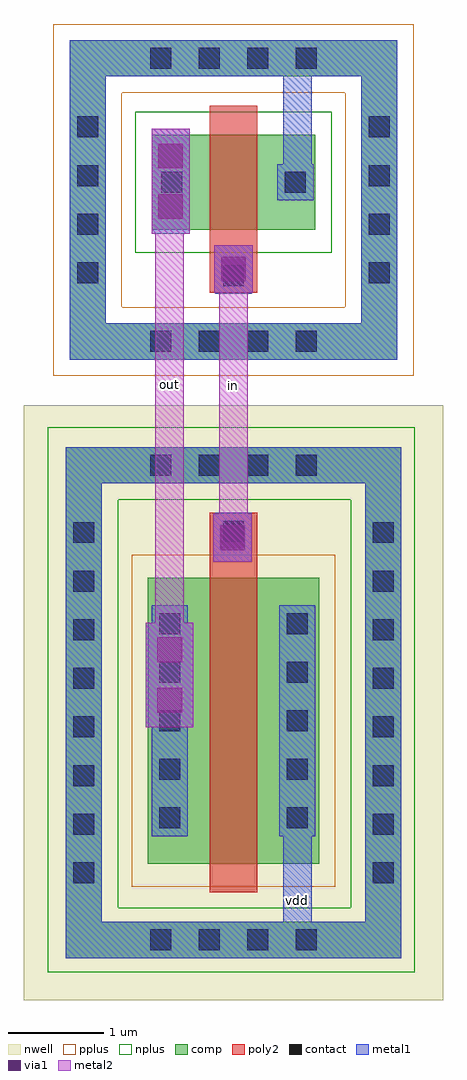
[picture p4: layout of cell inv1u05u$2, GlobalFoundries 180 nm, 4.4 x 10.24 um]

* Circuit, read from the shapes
.subckt inv1u05u$2 in out vdd
XM1 VSUBS in out VSUBS nfet_03v3 w=1u l=0.5u
XM2 vdd in out vdd pfet_03v3 w=3u l=0.5u
.ends

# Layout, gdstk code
from math import pi, radians
import gdstk
lib = gdstk.Library(unit=1e-6, precision=5e-09)
def R(c, l, rs):  # rectangles x0, y0, x1, y1
    for r in rs: c.add(gdstk.rectangle(r[:2], r[2:], *l))
def A(c, l, x, y, w, h, nx, ny, dx, dy):  # array of equal rectangles
    R(c, l, [(x+i*dx, y+j*dy, x+i*dx+w, y+j*dy+h) for i in range(nx) for j in range(ny)])
def P(c, l, *ps):  # polygons
    for p in ps: c.add(gdstk.Polygon(p, *l))
nwell = (21, 0)
comp = (22, 0)
poly2 = (30, 0)
pplus = (31, 0)
nplus = (32, 0)
contact = (33, 0)
metal1 = (34, 0)
via1 = (35, 0)
metal2 = (36, 0)

nfet_4 = lib.new_cell('nfet$4')
R(nfet_4, comp, [(-0.42,0,0,1), (0,0,0.88,1), (0.88,0,1.3,1)])
P(nfet_4, comp, [(-1.28,-0.99),(-1.28,1.98),(-0.9,1.98),(-0.9,-0.61),(1.78,-0.61),(1.78,1.98),(-1.28,1.98),(-1.28,2.36),(2.16,2.36),(2.16,-0.99)])
R(nfet_4, poly2, [(0.19,-0.3,0.69,1.3), (0.19,1.3,0.69,1.66)])
P(nfet_4, pplus, [(-1.45,-1.16),(-1.45,1.81),(-0.73,1.81),(-0.73,-0.44),(1.61,-0.44),(1.61,1.81),(-1.45,1.81),(-1.45,2.53),(2.33,2.53),(2.33,-1.16)])
R(nfet_4, nplus, [(-0.59,-0.24,1.47,1.24)])
A(nfet_4, contact, -0.435, -0.91, 0.22, 0.22, 4, 2, 0.51, 2.97)
A(nfet_4, contact, -1.2, -0.19, 0.22, 0.22, 1, 4, 0, 0.51)
A(nfet_4, contact, 1.86, -0.19, 0.22, 0.22, 1, 4, 0, 0.51)
R(nfet_4, contact, [(-0.32,0.39,-0.1,0.61), (0.98,0.39,1.2,0.61), (0.33,1.37,0.55,1.59)])
R(nfet_4, metal1, [(-0.4,0.31,-0.02,0.69), (0.9,0.31,1.28,0.69), (0.25,1.29,0.63,1.67)])

via_dev_12 = lib.new_cell('via_dev$12')
R(via_dev_12, metal1, [(0,0,0.4,0.5)])
R(via_dev_12, via1, [(0.07,0.12,0.33,0.38)])
R(via_dev_12, metal2, [(0,0,0.4,0.5)])

via_dev_14 = lib.new_cell('via_dev$14')
R(via_dev_14, metal1, [(0,0,0.4,1.1)])
R(via_dev_14, via1, [(0.07,0.155,0.33,0.415), (0.07,0.685,0.33,0.945)])
R(via_dev_14, metal2, [(0,0,0.4,1.1)])

via_dev_13 = lib.new_cell('via_dev$13')
R(via_dev_13, metal1, [(0,0,0.5,1.1)])
R(via_dev_13, via1, [(0.12,0.155,0.38,0.415), (0.12,0.685,0.38,0.945)])
R(via_dev_13, metal2, [(0,0,0.5,1.1)])

pfet_4 = lib.new_cell('pfet$4')
R(pfet_4, nwell, [(-1.76,-1.81,2.64,4.43)])
R(pfet_4, comp, [(-0.46,0,0,3), (0,0,0.88,3), (0.88,0,1.34,3)])
P(pfet_4, comp, [(-1.32,-1.37),(-1.32,3.61),(-0.94,3.61),(-0.94,-0.99),(1.82,-0.99),(1.82,3.61),(-1.32,3.61),(-1.32,3.99),(2.2,3.99),(2.2,-1.37)])
R(pfet_4, poly2, [(0.19,-0.68,0.69,-0.3), (0.19,-0.3,0.69,3.3)])
R(pfet_4, pplus, [(-0.63,-0.24,1.51,3.24)])
A(pfet_4, contact, -0.435, -1.29, 0.22, 0.22, 4, 2, 0.51, 4.98)
A(pfet_4, contact, -1.24, -0.585, 0.22, 0.22, 1, 8, 0, 0.51)
A(pfet_4, contact, 1.9, -0.585, 0.22, 0.22, 1, 8, 0, 0.51)
A(pfet_4, contact, -0.34, 0.37, 0.22, 0.22, 1, 5, 0, 0.51)
A(pfet_4, contact, 1, 0.37, 0.22, 0.22, 1, 5, 0, 0.51)
R(pfet_4, contact, [(0.33,-0.6,0.55,-0.38)])
R(pfet_4, metal1, [(0.25,-0.68,0.63,-0.3), (-0.42,0.29,-0.04,2.71), (0.92,0.29,1.3,2.71)])

inv1u05u_2 = lib.new_cell('inv1u05u$2')
R(inv1u05u_2, nplus, [(18.57,11.735,22.42,12.415), (18.57,11.735,19.31,17.455), (21.75,11.735,22.42,17.455), (18.57,16.695,22.42,17.455)])
R(inv1u05u_2, metal1, [(18.76,11.885,19.14,17.245), (18.76,11.885,19.14,12.265), (19.14,11.885,21.85,12.265), (21.85,11.885,22.28,12.265), (21.9,12.265,22.28,16.865), (18.76,16.865,22.28,17.245), (18.8,18.165,22.24,18.545), (18.8,18.545,19.18,21.515), (21.86,18.545,22.24,21.515), (19.18,21.135,21.86,21.515)])
inv1u05u_2.add(gdstk.FlexPath([(21.19,13.975),(21.19,11.965)], 0.3, ends="flush", simple_path=True, layer=34, datatype=0))  # metal1
inv1u05u_2.add(gdstk.FlexPath([(21.19,20.135),(21.19,21.435)], 0.3, ends="flush", simple_path=True, layer=34, datatype=0))  # metal1
inv1u05u_2.add(gdstk.FlexPath([(19.85,14.995),(19.85,20.025)], 0.3, ends="flush", simple_path=True, layer=36, datatype=0))  # metal2
inv1u05u_2.add(gdstk.FlexPath([(20.52,16.475),(20.52,19.365)], 0.3, ends="flush", simple_path=True, layer=36, datatype=0))  # metal2
inv1u05u_2.add(gdstk.Reference(nfet_4, (20.96,20.525), rotation=pi))
inv1u05u_2.add(gdstk.Reference(via_dev_12, (20.72,19.365), rotation=pi))
inv1u05u_2.add(gdstk.Reference(via_dev_14, (20.06,20.585), rotation=pi))
inv1u05u_2.add(gdstk.Reference(via_dev_13, (20.1,15.405), rotation=pi))
inv1u05u_2.add(gdstk.Reference(via_dev_12, (20.71,16.545), rotation=pi))
inv1u05u_2.add(gdstk.Reference(pfet_4, (20.96,15.875), rotation=pi))
inv1u05u_2.add(gdstk.Label('vdd', (21.19,12.485), layer=34, texttype=10))
inv1u05u_2.add(gdstk.Label('in', (20.52,17.895), layer=36, texttype=10))
inv1u05u_2.add(gdstk.Label('out', (19.85,17.905), layer=36, texttype=10))

lib.write_gds('inv1u05u_2.gds')
